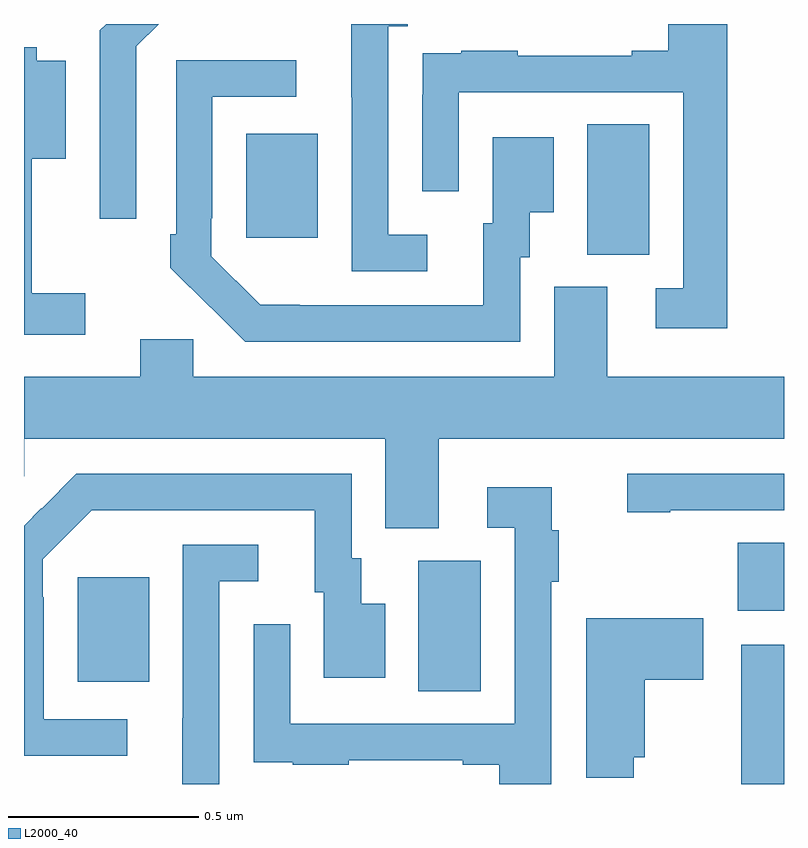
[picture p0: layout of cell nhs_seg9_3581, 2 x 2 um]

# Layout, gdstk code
import gdstk
lib = gdstk.Library(unit=1e-6, precision=1e-09)
def R(c, l, rs):  # rectangles x0, y0, x1, y1
    for r in rs: c.add(gdstk.rectangle(r[:2], r[2:], *l))
def P(c, l, *ps):  # polygons
    for p in ps: c.add(gdstk.Polygon(p, *l))
L2000_40 = (2000, 40)

nhs_seg9_3581 = lib.new_cell('nhs_seg9_3581')
R(nhs_seg9_3581, L2000_40, [(156.887,1207.5,157,1207.867), (156.038,1207.744,156.202,1208.088), (155.141,1207.769,155.329,1208.044), (156.878,1207.956,157,1208.135), (156.482,1208.893,156.646,1209.236), (155.585,1208.937,155.773,1209.211)])
P(nhs_seg9_3581, L2000_40, [(155.295,1209.441),(155.354,1209.5),(155.216,1209.5),(155.199,1209.483),(155.199,1208.988),(155.295,1208.988)],
  [(156.061,1208.946),(155.958,1208.946),(155.958,1209.494),(156.01,1209.494),(156.01,1209.5),(155.861,1209.5),(155.861,1209.307),(155.862,1209.307),(155.862,1208.85),(156.061,1208.85)],
  [(156.851,1209.5),(156.695,1209.5),(156.695,1209.43),(156.599,1209.43),(156.599,1209.417),(156.299,1209.417),(156.299,1209.43),(156.151,1209.43),(156.151,1209.423),(156.049,1209.423),(156.049,1209.314),(156.048,1209.314),(156.048,1209.06),(156.144,1209.06),(156.144,1209.321),(156.735,1209.321),(156.735,1208.805),(156.663,1208.805),(156.663,1208.7),(156.851,1208.7)],
  [(155.161,1208.791),(155.021,1208.791),(155.021,1209.146),(155.11,1209.146),(155.11,1209.403),(155.034,1209.403),(155.034,1209.439),(155,1209.439),(155,1208.682),(155.161,1208.682)],
  [(156.306,1208.886),(156.331,1208.886),(156.331,1209.005),(156.394,1209.005),(156.394,1209.202),(156.233,1209.202),(156.233,1208.976),(156.209,1208.976),(156.209,1208.76),(155.725,1208.76),(155.725,1208.761),(155.622,1208.761),(155.493,1208.889),(155.493,1208.989),(155.496,1208.989),(155.496,1209.309),(155.716,1209.309),(155.716,1209.405),(155.4,1209.405),(155.4,1208.947),(155.385,1208.947),(155.385,1208.859),(155.49,1208.754),(155.491,1208.755),(155.582,1208.664),(156.306,1208.664)],
  [(156.091,1208.408),(157,1208.408),(157,1208.572),(156.535,1208.572),(156.535,1208.808),(156.395,1208.808),(156.395,1208.572),(155.445,1208.572),(155.445,1208.67),(155.306,1208.67),(155.306,1208.572),(155,1208.572),(155,1208.31),(155.001,1208.31),(155.001,1208.408),(155.951,1208.408),(155.951,1208.173),(156.091,1208.173)],
  [(156.7,1208.22),(157,1208.22),(157,1208.316),(156.588,1208.316),(156.588,1208.215),(156.7,1208.215)],
  [(155.272,1207.671),(155.052,1207.671),(155.052,1207.991),(155.049,1207.991),(155.049,1208.091),(155.178,1208.22),(155.765,1208.22),(155.765,1208.004),(155.789,1208.004),(155.789,1207.779),(155.95,1207.779),(155.95,1207.975),(155.887,1207.975),(155.887,1208.094),(155.862,1208.094),(155.862,1208.316),(155.138,1208.316),(155.047,1208.225),(155.046,1208.226),(155,1208.18),(155,1207.575),(155.272,1207.575)],
  [(156.387,1208.032),(156.407,1208.032),(156.407,1208.168),(156.389,1208.168),(156.389,1208.281),(156.219,1208.281),(156.219,1208.175),(156.291,1208.175),(156.291,1207.659),(155.7,1207.659),(155.7,1207.921),(155.604,1207.921),(155.604,1207.666),(155.605,1207.666),(155.605,1207.557),(155.707,1207.557),(155.707,1207.551),(155.855,1207.551),(155.855,1207.563),(156.155,1207.563),(156.155,1207.551),(156.251,1207.551),(156.251,1207.5),(156.387,1207.5)],
  [(155.514,1208.034),(155.617,1208.034),(155.617,1208.13),(155.418,1208.13),(155.418,1207.673),(155.417,1207.673),(155.417,1207.5),(155.514,1207.5)],
  [(156.604,1207.571),(156.634,1207.571),(156.634,1207.774),(156.787,1207.774),(156.787,1207.936),(156.479,1207.936),(156.479,1207.517),(156.604,1207.517)])

lib.write_gds('nhs_seg9_3581.gds')
